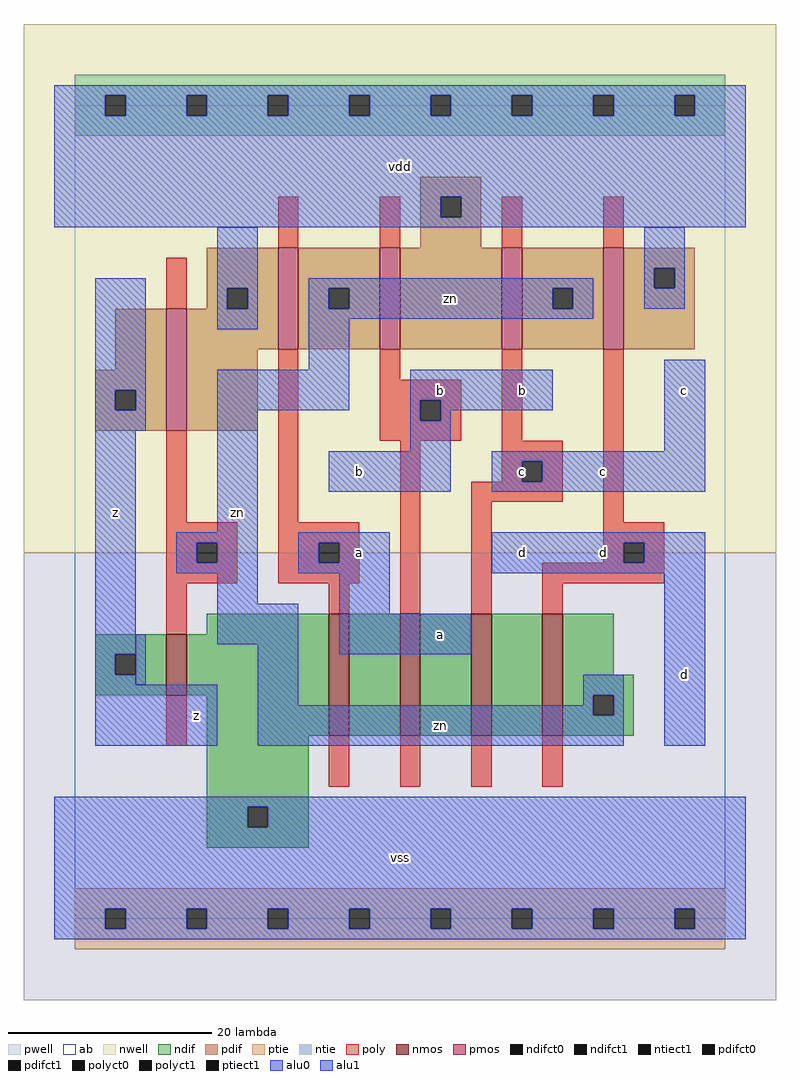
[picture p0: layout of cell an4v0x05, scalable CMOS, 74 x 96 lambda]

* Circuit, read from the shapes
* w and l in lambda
.subckt an4v0x05 a b c d vdd vss z zn
M1 vss zn z vss nfet w=6 l=2
M2 n1 a vss vss nfet w=12 l=2
M3 n2 b n1 vss nfet w=12 l=2
M4 n3 c n2 vss nfet w=12 l=2
M5 zn d n3 vss nfet w=12 l=2
M6 vdd zn z vdd pfet w=12 l=2
M7 zn a vdd vdd pfet w=10 l=2
M8 vdd b zn vdd pfet w=10 l=2
M9 zn c vdd vdd pfet w=10 l=2
M10 vdd d zn vdd pfet w=10 l=2
.ends

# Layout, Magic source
magic
tech scmos
<< ab >>
rect 0 0 64 80
<< nwell >>
rect -5 36 69 88
<< pwell >>
rect -5 -8 69 36
<< poly >>
rect 20 66 22 71
rect 30 66 32 71
rect 42 66 44 71
rect 52 66 54 71
rect 9 60 11 65
rect 9 39 11 48
rect 20 39 22 56
rect 30 53 32 56
rect 30 51 38 53
rect 30 49 34 51
rect 36 49 38 51
rect 30 47 38 49
rect 42 47 44 56
rect 9 37 16 39
rect 9 35 12 37
rect 14 35 16 37
rect 9 33 16 35
rect 20 37 28 39
rect 20 35 24 37
rect 26 35 28 37
rect 20 33 28 35
rect 9 28 11 33
rect 25 30 27 33
rect 32 30 34 47
rect 42 45 48 47
rect 42 43 44 45
rect 46 43 48 45
rect 39 41 48 43
rect 39 30 41 41
rect 52 39 54 56
rect 52 37 58 39
rect 52 35 54 37
rect 56 35 58 37
rect 46 33 58 35
rect 46 30 48 33
rect 9 17 11 22
rect 25 13 27 18
rect 32 13 34 18
rect 39 13 41 18
rect 46 13 48 18
<< ndif >>
rect 13 28 25 30
rect 2 26 9 28
rect 2 24 4 26
rect 6 24 9 26
rect 2 22 9 24
rect 11 22 25 28
rect 13 18 25 22
rect 27 18 32 30
rect 34 18 39 30
rect 41 18 46 30
rect 48 24 53 30
rect 48 22 55 24
rect 48 20 51 22
rect 53 20 55 22
rect 48 18 55 20
rect 13 11 23 18
rect 13 9 17 11
rect 19 9 23 11
rect 13 7 23 9
<< pdif >>
rect 34 71 40 73
rect 34 69 36 71
rect 38 69 40 71
rect 34 66 40 69
rect 13 62 20 66
rect 13 60 15 62
rect 17 60 20 62
rect 4 54 9 60
rect 2 52 9 54
rect 2 50 4 52
rect 6 50 9 52
rect 2 48 9 50
rect 11 56 20 60
rect 22 62 30 66
rect 22 60 25 62
rect 27 60 30 62
rect 22 56 30 60
rect 32 56 42 66
rect 44 62 52 66
rect 44 60 47 62
rect 49 60 52 62
rect 44 56 52 60
rect 54 64 61 66
rect 54 62 57 64
rect 59 62 61 64
rect 54 56 61 62
rect 11 48 18 56
<< alu1 >>
rect -2 81 66 82
rect -2 79 3 81
rect 5 79 11 81
rect 13 79 19 81
rect 21 79 27 81
rect 29 79 35 81
rect 37 79 43 81
rect 45 79 51 81
rect 53 79 59 81
rect 61 79 66 81
rect -2 71 66 79
rect -2 69 36 71
rect 38 69 66 71
rect -2 68 66 69
rect 2 52 7 63
rect 2 50 4 52
rect 6 50 7 52
rect 2 48 7 50
rect 33 51 47 54
rect 2 26 6 48
rect 33 49 34 51
rect 36 50 47 51
rect 36 49 37 50
rect 33 46 37 49
rect 58 46 62 55
rect 25 42 37 46
rect 41 45 62 46
rect 41 43 44 45
rect 46 43 62 45
rect 41 42 62 43
rect 22 37 31 38
rect 22 35 24 37
rect 26 35 31 37
rect 22 34 31 35
rect 41 37 62 38
rect 41 35 54 37
rect 56 35 62 37
rect 41 34 62 35
rect 2 24 4 26
rect 2 23 6 24
rect 2 17 14 23
rect 26 30 31 34
rect 26 26 39 30
rect 58 17 62 34
rect -2 11 66 12
rect -2 9 17 11
rect 19 9 66 11
rect -2 1 66 9
rect -2 -1 3 1
rect 5 -1 11 1
rect 13 -1 19 1
rect 21 -1 27 1
rect 29 -1 35 1
rect 37 -1 43 1
rect 45 -1 51 1
rect 53 -1 59 1
rect 61 -1 66 1
rect -2 -2 66 -1
<< ptie >>
rect 0 1 64 3
rect 0 -1 3 1
rect 5 -1 11 1
rect 13 -1 19 1
rect 21 -1 27 1
rect 29 -1 35 1
rect 37 -1 43 1
rect 45 -1 51 1
rect 53 -1 59 1
rect 61 -1 64 1
rect 0 -3 64 -1
<< ntie >>
rect 0 81 64 83
rect 0 79 3 81
rect 5 79 11 81
rect 13 79 19 81
rect 21 79 27 81
rect 29 79 35 81
rect 37 79 43 81
rect 45 79 51 81
rect 53 79 59 81
rect 61 79 64 81
rect 0 77 64 79
<< nmos >>
rect 9 22 11 28
rect 25 18 27 30
rect 32 18 34 30
rect 39 18 41 30
rect 46 18 48 30
<< pmos >>
rect 9 48 11 60
rect 20 56 22 66
rect 30 56 32 66
rect 42 56 44 66
rect 52 56 54 66
<< polyct0 >>
rect 12 35 14 37
<< polyct1 >>
rect 34 49 36 51
rect 24 35 26 37
rect 44 43 46 45
rect 54 35 56 37
<< ndifct0 >>
rect 51 20 53 22
<< ndifct1 >>
rect 4 24 6 26
rect 17 9 19 11
<< ntiect1 >>
rect 3 79 5 81
rect 11 79 13 81
rect 19 79 21 81
rect 27 79 29 81
rect 35 79 37 81
rect 43 79 45 81
rect 51 79 53 81
rect 59 79 61 81
<< ptiect1 >>
rect 3 -1 5 1
rect 11 -1 13 1
rect 19 -1 21 1
rect 27 -1 29 1
rect 35 -1 37 1
rect 43 -1 45 1
rect 51 -1 53 1
rect 59 -1 61 1
<< pdifct0 >>
rect 15 60 17 62
rect 25 60 27 62
rect 47 60 49 62
rect 57 62 59 64
<< pdifct1 >>
rect 36 69 38 71
rect 4 50 6 52
<< alu0 >>
rect 14 62 18 68
rect 56 64 60 68
rect 14 60 15 62
rect 17 60 18 62
rect 14 58 18 60
rect 23 62 51 63
rect 23 60 25 62
rect 27 60 47 62
rect 49 60 51 62
rect 56 62 57 64
rect 59 62 60 64
rect 56 60 60 62
rect 23 59 51 60
rect 23 54 27 59
rect 14 50 27 54
rect 14 38 18 50
rect 10 37 18 38
rect 10 35 12 37
rect 14 35 18 37
rect 10 34 18 35
rect 14 31 18 34
rect 6 23 7 28
rect 14 27 22 31
rect 18 21 22 27
rect 50 22 54 24
rect 50 21 51 22
rect 18 20 51 21
rect 53 20 54 22
rect 18 17 54 20
<< labels >>
rlabel alu0 16 40 16 40 6 zn
rlabel alu0 36 19 36 19 6 zn
rlabel alu0 37 61 37 61 6 zn
rlabel alu1 12 20 12 20 6 z
rlabel alu1 4 40 4 40 6 z
rlabel alu1 28 36 28 36 6 a
rlabel alu1 28 44 28 44 6 b
rlabel alu1 32 6 32 6 6 vss
rlabel alu1 36 28 36 28 6 a
rlabel alu1 44 36 44 36 6 d
rlabel alu1 44 44 44 44 6 c
rlabel alu1 36 52 36 52 6 b
rlabel alu1 44 52 44 52 6 b
rlabel alu1 32 74 32 74 6 vdd
rlabel alu1 52 36 52 36 6 d
rlabel alu1 60 24 60 24 6 d
rlabel alu1 52 44 52 44 6 c
rlabel alu1 60 52 60 52 6 c
<< end >>
